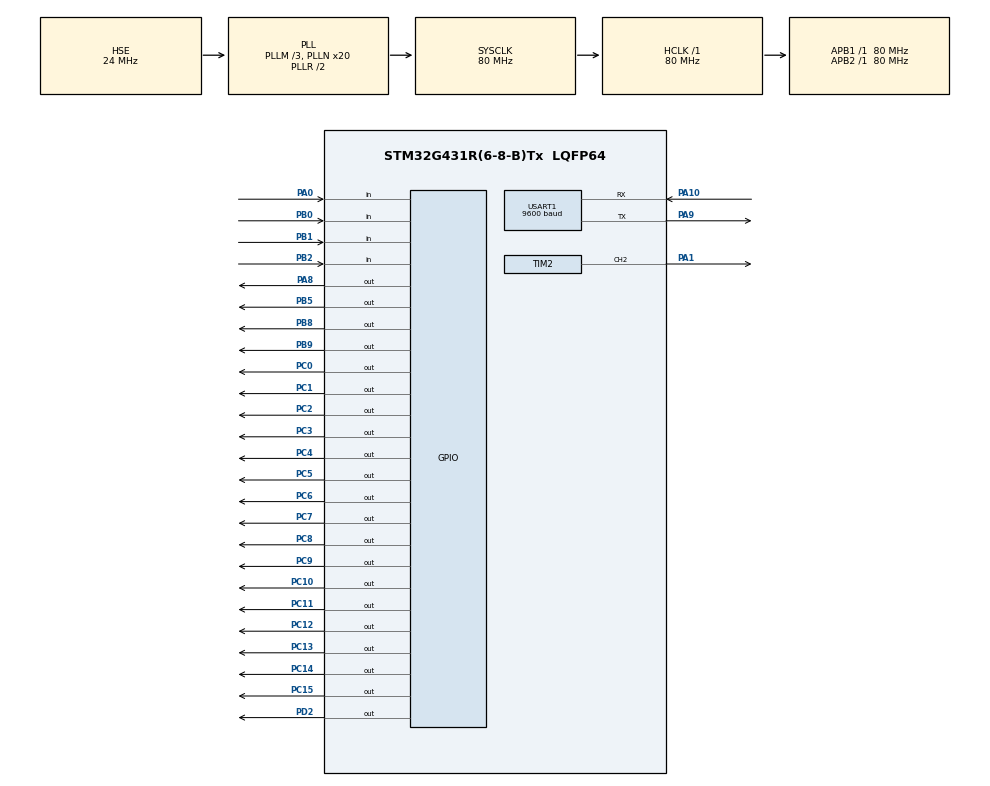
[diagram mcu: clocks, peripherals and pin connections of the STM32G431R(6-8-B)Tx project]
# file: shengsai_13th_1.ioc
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Mcu.Family=STM32G4
Mcu.Name=STM32G431R(6-8-B)Tx
Mcu.Package=LQFP64
NVIC.PriorityGroup=NVIC_PRIORITYGROUP_4
NVIC.TIM4_IRQn=true\:0\:0\:false\:false\:true\:true\:true\:true
NVIC.USART1_IRQn=true\:0\:0\:false\:false\:true\:true\:true\:true
PA0.Signal=GPIO_Input
PA1.Signal=S_TIM2_CH2
PA10.Mode=Asynchronous
PA10.Signal=USART1_RX
PA8.Signal=GPIO_Output
PA9.Mode=Asynchronous
PA9.Signal=USART1_TX
PB0.Signal=GPIO_Input
PB1.Signal=GPIO_Input
PB2.Signal=GPIO_Input
PB5.Signal=GPIO_Output
PB8-BOOT0.Signal=GPIO_Output
PB9.Signal=GPIO_Output
PC0.Signal=GPIO_Output
PC1.Signal=GPIO_Output
PC10.Signal=GPIO_Output
PC11.Signal=GPIO_Output
PC12.Signal=GPIO_Output
PC13.Signal=GPIO_Output
PC14-OSC32_IN.Signal=GPIO_Output
PC15-OSC32_OUT.Signal=GPIO_Output
PC2.Signal=GPIO_Output
PC3.Signal=GPIO_Output
PC4.Signal=GPIO_Output
PC5.Signal=GPIO_Output
PC6.Signal=GPIO_Output
PC7.Signal=GPIO_Output
PC8.Signal=GPIO_Output
PC9.Signal=GPIO_Output
PD2.Signal=GPIO_Output
PF0-OSC_IN.Mode=HSE-External-Oscillator
PF0-OSC_IN.Signal=RCC_OSC_IN
PF1-OSC_OUT.Mode=HSE-External-Oscillator
PF1-OSC_OUT.Signal=RCC_OSC_OUT
ProjectManager.HeapSize=0x200
ProjectManager.StackSize=0x400
ProjectManager.TargetToolchain=MDK-ARM V5.32
RCC.ADC12Freq_Value=80000000
RCC.AHBFreq_Value=80000000
RCC.APB1Freq_Value=80000000
RCC.APB1TimFreq_Value=80000000
RCC.APB2Freq_Value=80000000
RCC.APB2TimFreq_Value=80000000
RCC.CortexFreq_Value=80000000
RCC.EXTERNAL_CLOCK_VALUE=12288000
RCC.HCLKFreq_Value=80000000
RCC.HSE_VALUE=24000000
RCC.HSI48_VALUE=48000000
RCC.HSI_VALUE=16000000
RCC.LSE_VALUE=32768
RCC.PLLM=RCC_PLLM_DIV3
RCC.PLLN=20
RCC.PLLSourceVirtual=RCC_PLLSOURCE_HSE
RCC.SYSCLKFreq_VALUE=80000000
RCC.SYSCLKSource=RCC_SYSCLKSOURCE_PLLCLK
RCC.USBFreq_Value=80000000
RCC.VCOOutputFreq_Value=160000000
SH.S_TIM2_CH2.0=TIM2_CH2,PWM Generation2 CH2
TIM2.Channel-PWM\ Generation2\ CH2=TIM_CHANNEL_2
TIM2.PeriodNoDither=1000-1
TIM2.Prescaler=80-1
TIM2.PulseNoDither_2=500
TIM4.PeriodNoDither=10000-1
TIM4.Prescaler=80-1
USART1.BaudRate=9600
USART1.VirtualMode-Asynchronous=VM_ASYNC
VP_SYS_VS_DBSignals.Mode=DisableDeadBatterySignals
VP_TIM2_VS_ClockSourceINT.Mode=Internal
VP_TIM4_VS_ClockSourceINT.Mode=Internal
board=custom

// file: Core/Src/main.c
/* USER CODE BEGIN Header */
/**
  ******************************************************************************
  * @file           : main.c
  * @brief          : Main program body
  ******************************************************************************
  * @attention
  *
  * Copyright (c) 2024 STMicroelectronics.
  * All rights reserved.
  *
  * This software is licensed under terms that can be found in the LICENSE file
  * in the root directory of this software component.
  * If no LICENSE file comes with this software, it is provided AS-IS.
  *
  ******************************************************************************
  */
/* USER CODE END Header */
#include "main.h"
#include "tim.h"
#include "usart.h"
#include "gpio.h"

/* USER CODE BEGIN Includes */

#include "stdio.h"
#include "String.h"
#include "lcd.h"
#include "led.h"
#include "timer.h"
#include "myusart.h"

/* USER CODE END Includes */

void SystemClock_Config(void);
/* USER CODE BEGIN PFP */
void lcd_proc(void);
void key_proc(void);
void usart_proc(void);
void led_proc(void);

/* USER CODE END PFP */

/* USER CODE BEGIN 0 */

//led灯
unsigned char ucled=0x00;

//lcd显示屏的数据
unsigned char lcd_text[30];

//减速函数
__IO uint32_t uwTick_lcd;
__IO uint32_t uwTick_led;

//界面切换参数
unsigned char view=0;

//密码
char mima[4]={'1','2','3'};

//按键输入的密码
//如密码正确，LCD 显示跳转到输出状态界面
//否则停留在密码输入界面（如图 2 所示），显示界面的三位密码值重置为@
char mima_in[4]={'@','@','@'};

unsigned int pa1_frq=1000;
unsigned int pa1_duty=500;

//设备上电或重新进入密码输入界面，显示界面的密码值重置为字符@。
unsigned char reset_flag=0;

//计算连续输入错误密码的个数
unsigned char count=0;

//连续输入三个以上错误密码的标志
unsigned char flag=0;

/* USER CODE END 0 */

int main(void)
{

  /* MCU Configuration--------------------------------------------------------*/

  /* Reset of all peripherals, Initializes the Flash interface and the Systick. */
  HAL_Init();

  /* Configure the system clock */
  SystemClock_Config();

  /* Initialize all configured peripherals */
  MX_GPIO_Init();
  MX_TIM2_Init();
  MX_TIM4_Init();
  MX_USART1_UART_Init();
  /* USER CODE BEGIN 2 */

    led_disp(ucled);

    LCD_Init();
    LCD_Clear(Black);
    LCD_SetBackColor(Black);
    LCD_SetTextColor(White);

    //使能定时器4
    HAL_TIM_Base_Start_IT(&htim4);

    //PWM波
    HAL_TIM_PWM_Start(&htim2,TIM_CHANNEL_2);

    //初始化串口接收
    HAL_UART_Receive_IT(&huart1,&rxdat,1);

  /* USER CODE END 2 */

  /* Infinite loop */
  while (1)
  {

    /* USER CODE BEGIN 3 */
      key_proc();
      led_proc();
      //防止接收不完整
      if(rx_pointer!=0)
      {
          int temp=rx_pointer;
          HAL_Delay(1);
          if(temp==rx_pointer)
          {
              usart_proc();
          }
      }
      lcd_proc();

  }
  /* USER CODE END 3 */
}

void SystemClock_Config(void)
{
  RCC_OscInitTypeDef RCC_OscInitStruct = {0};
  RCC_ClkInitTypeDef RCC_ClkInitStruct = {0};

  /** Configure the main internal regulator output voltage
  */
  HAL_PWREx_ControlVoltageScaling(PWR_REGULATOR_VOLTAGE_SCALE1);

  /** Initializes the RCC Oscillators according to the specified parameters
  * in the RCC_OscInitTypeDef structure.
  */
  RCC_OscInitStruct.OscillatorType = RCC_OSCILLATORTYPE_HSE;
  RCC_OscInitStruct.HSEState = RCC_HSE_ON;
  RCC_OscInitStruct.PLL.PLLState = RCC_PLL_ON;
  RCC_OscInitStruct.PLL.PLLSource = RCC_PLLSOURCE_HSE;
  RCC_OscInitStruct.PLL.PLLM = RCC_PLLM_DIV3;
  RCC_OscInitStruct.PLL.PLLN = 20;
  RCC_OscInitStruct.PLL.PLLP = RCC_PLLP_DIV2;
  RCC_OscInitStruct.PLL.PLLQ = RCC_PLLQ_DIV2;
  RCC_OscInitStruct.PLL.PLLR = RCC_PLLR_DIV2;
  if (HAL_RCC_OscConfig(&RCC_OscInitStruct) != HAL_OK)
  {
    Error_Handler();
  }

  /** Initializes the CPU, AHB and APB buses clocks
  */
  RCC_ClkInitStruct.ClockType = RCC_CLOCKTYPE_HCLK|RCC_CLOCKTYPE_SYSCLK
                              |RCC_CLOCKTYPE_PCLK1|RCC_CLOCKTYPE_PCLK2;
  RCC_ClkInitStruct.SYSCLKSource = RCC_SYSCLKSOURCE_PLLCLK;
  RCC_ClkInitStruct.AHBCLKDivider = RCC_SYSCLK_DIV1;
  RCC_ClkInitStruct.APB1CLKDivider = RCC_HCLK_DIV1;
  RCC_ClkInitStruct.APB2CLKDivider = RCC_HCLK_DIV1;

  if (HAL_RCC_ClockConfig(&RCC_ClkInitStruct, FLASH_LATENCY_2) != HAL_OK)
  {
    Error_Handler();
  }
}

/* USER CODE BEGIN 4 */
void led_proc(void)
{
    if((uwTick-uwTick_led)<50)return;
    uwTick_led=uwTick;

    led_disp(ucled);
}

void usart_proc(void)
{
    if(rx_pointer!=0)
    {
        if((rx_pointer==7)&&(rxdata[3]=='-'))
        {
            char  oldmima[4];
            //输入的新密码
            char  newmima[4];
            char data[255];
            sscanf(rxdata,"%3s-%3s",oldmima,newmima);

            memset(data,NULL,sizeof(data));
            sprintf(data,"mima:%s\r\n",mima);
            HAL_UART_Transmit(&huart1,(uint8_t *)data,strlen(data),50);

           memset(data,NULL,sizeof(data));
           sprintf(data,"%s\r\n",rxdata);
            HAL_UART_Transmit(&huart1,(uint8_t *)data,strlen(data),50);

            if(0==strcmp(oldmima,mima))
            {

                strcpy(mima,newmima);
                memset(data,NULL,sizeof(data));

                sprintf(data,"\r\n new password:%s\r\n\n",mima);
                HAL_UART_Transmit(&huart1,(uint8_t *)data,strlen(data),50);
            }
            else
            {
                memset(data,NULL,sizeof(data));
                sprintf(data,"password error!\r\n");
                HAL_UART_Transmit(&huart1,(uint8_t *)data,strlen(data),50);
            }
        }
        else
        {
            char data[30]="passin error!\r\n";
            HAL_UART_Transmit(&huart1,(uint8_t *)data,strlen(data),50);
        }
        rx_pointer=0;
        memset(rxdata,0,sizeof(rxdata));
    }
}

void key_proc(void)
{
    if(1==key[0].single_flag)
    {
        key[0].single_flag=0;
        if(0==view){//密码输入界面
            if('@'==mima_in[0])mima_in[0]='0';
            else
            {
                if(mima_in[0]=='9')mima_in[0]='0';
                else
                 mima_in[0]+=1;

            }
      }
    }
    else if(1==key[1].single_flag)
    {
        key[1].single_flag=0;
        if(0==view){//密码输入界面
            if('@'==mima_in[1])mima_in[1]='0';
            else
            {
                if(mima_in[1]=='9')mima_in[1]='0';
                else
                 mima_in[1]+=1;

            }
     }
    }
    else if(1==key[2].single_flag)
    {
        key[2].single_flag=0;
        if(0==view){//密码输入界面
            if('@'==mima_in[2])mima_in[2]='0';
            else
            {
                if(mima_in[2]=='9')mima_in[2]='0';
                else
                 mima_in[2]+=1;
            }
        }
    }
    else if(1==key[3].single_flag)
    {
        key[3].single_flag=0;
        if(0==view){
        //如密码正确，LCD 显示跳转到输出状态界面
        if(0==strcmp(mima_in,mima))
        {
            LCD_Clear(Black);
            count=0;
           // flag=0;
            view=1;
        }
        else//否则停留在密码输入界面（如图 2 所示），显示界面的三位密码值重置为@。
        {
           count++;
            if(count>=3)flag=1;
           memset(mima_in,'@',sizeof(mima_in)-1);
        }
      }
    }

}

void lcd_proc(void)
{
    if((uwTick-uwTick_lcd)<100)return;
    uwTick_lcd=uwTick;

    switch(view)
    {
        case 0://密码输入界面
            memset(lcd_text,0,sizeof(lcd_text));
            sprintf((char *)lcd_text,"       PSD           ");
            LCD_DisplayStringLine(Line1,lcd_text);

            memset(lcd_text,0,sizeof(lcd_text));
            sprintf((char *)lcd_text,"    B1:%c       ",mima_in[0]);
            LCD_DisplayStringLine(Line3,lcd_text);

            memset(lcd_text,0,sizeof(lcd_text));
            sprintf((char *)lcd_text,"    B2:%c       ",mima_in[1]);
            LCD_DisplayStringLine(Line4,lcd_text);

            memset(lcd_text,0,sizeof(lcd_text));
            sprintf((char *)lcd_text,"    B3:%c       ",mima_in[2]);
            LCD_DisplayStringLine(Line5,lcd_text);

            memset(lcd_text,0,sizeof(lcd_text));
            sprintf((char *)lcd_text,"    mima:%s              ",mima);
            LCD_DisplayStringLine(Line9,lcd_text);

            break;

        case 1://输出状态界面
            //频率=80MHZ/预分频系数/重装载值
            pa1_frq=(80000000/(TIM2->PSC+1)/(TIM2->ARR+1));
            //占空比=输出比较值/重装载值
            //TIM2->CCR2：定时器2的捕获/比较寄存器的值
            pa1_duty=(100*TIM2->CCR2)/(TIM2->ARR+1);

            memset(lcd_text,0,sizeof(lcd_text));
            sprintf((char *)lcd_text,"       STA           ");
            LCD_DisplayStringLine(Line1,lcd_text);

            memset(lcd_text,0,sizeof(lcd_text));
            sprintf((char *)lcd_text,"    F:%d              ",pa1_frq);
            LCD_DisplayStringLine(Line3,lcd_text);

            memset(lcd_text,0,sizeof(lcd_text));
            sprintf((char *)lcd_text,"    D:%d%%              ",pa1_duty);
            LCD_DisplayStringLine(Line4,lcd_text);

            break;
    }
}

/* USER CODE END 4 */

void Error_Handler(void)
{
  __disable_irq();
  while (1)
  {
  }
}
